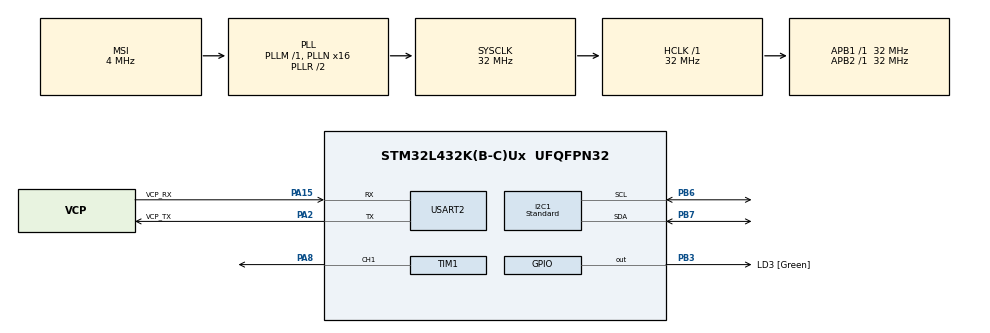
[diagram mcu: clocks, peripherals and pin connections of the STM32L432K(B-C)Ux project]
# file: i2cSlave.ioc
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I2C1.GeneralCallMode=I2C_GENERALCALL_ENABLE
I2C1.I2C_Speed_Mode=I2C_Standard
I2C1.OwnAddress=0x12
I2C1.Timing=0x00707CBB
Mcu.Family=STM32L4
Mcu.Name=STM32L432K(B-C)Ux
Mcu.Package=UFQFPN32
NVIC.I2C1_ER_IRQn=true\:0\:0\:false\:false\:true\:true\:true\:true
NVIC.I2C1_EV_IRQn=true\:0\:0\:false\:false\:true\:true\:true\:true
NVIC.PriorityGroup=NVIC_PRIORITYGROUP_4
PA0.GPIO_Label=MCO [High speed clock in]
PA0.Mode=HSE-External-Clock-Source-for-LittleOrca
PA0.Signal=RCC_CK_IN
PA13\ (JTMS-SWDIO).GPIO_Label=SWDIO
PA13\ (JTMS-SWDIO).Mode=Serial_Wire
PA13\ (JTMS-SWDIO).Signal=SYS_JTMS-SWDIO
PA14\ (JTCK-SWCLK).GPIO_Label=SWCLK
PA14\ (JTCK-SWCLK).Mode=Serial_Wire
PA14\ (JTCK-SWCLK).Signal=SYS_JTCK-SWCLK
PA15\ (JTDI).GPIO_Label=VCP_RX
PA15\ (JTDI).Mode=Asynchronous
PA15\ (JTDI).Signal=USART2_RX
PA2.GPIO_Label=VCP_TX
PA2.Mode=Asynchronous
PA2.Signal=USART2_TX
PA8.GPIO_ModeDefaultPP=GPIO_MODE_AF_PP
PA8.GPIO_Speed=GPIO_SPEED_FREQ_HIGH
PA8.Signal=S_TIM1_CH1
PB3\ (JTDO-TRACESWO).GPIO_Label=LD3 [Green]
PB3\ (JTDO-TRACESWO).Signal=GPIO_Output
PB6.GPIO_FM6=__NULL
PB6.GPIO_Pu=GPIO_NOPULL
PB6.GPIO_Speed=GPIO_SPEED_FREQ_HIGH
PB6.Mode=I2C
PB6.Signal=I2C1_SCL
PB7.GPIO_FM7=__NULL
PB7.GPIO_Pu=GPIO_NOPULL
PB7.GPIO_Speed=GPIO_SPEED_FREQ_HIGH
PB7.Mode=I2C
PB7.Signal=I2C1_SDA
PC14-OSC32_IN\ (PC14).Mode=LSE-External-Oscillator
PC14-OSC32_IN\ (PC14).Signal=RCC_OSC32_IN
PC15-OSC32_OUT\ (PC15).Mode=LSE-External-Oscillator
PC15-OSC32_OUT\ (PC15).Signal=RCC_OSC32_OUT
ProjectManager.HeapSize=0x200
ProjectManager.StackSize=0x400
ProjectManager.TargetToolchain=STM32CubeIDE
RCC.AHBFreq_Value=32000000
RCC.APB1Freq_Value=32000000
RCC.APB1TimFreq_Value=32000000
RCC.APB2Freq_Value=32000000
RCC.APB2TimFreq_Value=32000000
RCC.CortexFreq_Value=32000000
RCC.HCLKFreq_Value=32000000
RCC.HSE_VALUE=8000000
RCC.HSI16_VALUE=16000000
RCC.HSI48_VALUE=48000000
RCC.HSI_VALUE=16000000
RCC.MSI_VALUE=4000000
RCC.PLLMUL=RCC_PLLMUL_4
RCC.PLLN=16
RCC.SYSCLKFreq_VALUE=32000000
RCC.SYSCLKSource=RCC_SYSCLKSOURCE_PLLCLK
RCC.VCOOutputFreq_Value=64000000
SH.S_TIM1_CH1.0=TIM1_CH1,PWM Generation1 CH1
TIM1.AutoReloadPreload=TIM_AUTORELOAD_PRELOAD_ENABLE
TIM1.Channel-PWM\ Generation1\ CH1=TIM_CHANNEL_1
TIM1.OCFastMode_PWM-PWM\ Generation1\ CH1=TIM_OCFAST_DISABLE
TIM1.Period=63999
TIM1.Prescaler=19
TIM1.Pulse-PWM\ Generation1\ CH1=4799
USART2.VirtualMode-Asynchronous=VM_ASYNC
VP_TIM1_VS_ClockSourceINT.Mode=Internal
board=NUCLEO-L432KC

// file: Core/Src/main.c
/* USER CODE BEGIN Header */
/**
  ******************************************************************************
  * @file           : main.c
  * @brief          : Main program body
  ******************************************************************************
  * @attention
  *
  * Copyright (c) 2024 STMicroelectronics.
  * All rights reserved.
  *
  * This software is licensed under terms that can be found in the LICENSE file
  * in the root directory of this software component.
  * If no LICENSE file comes with this software, it is provided AS-IS.
  *
  ******************************************************************************
  */
/* USER CODE END Header */
#include "main.h"

/* USER CODE BEGIN Includes */
#include "i2c_slave.h"
/* USER CODE END Includes */

I2C_HandleTypeDef hi2c1;

TIM_HandleTypeDef htim1;

UART_HandleTypeDef huart2;

void SystemClock_Config(void);
static void MX_GPIO_Init(void);
static void MX_USART2_UART_Init(void);
static void MX_I2C1_Init(void);
static void MX_TIM1_Init(void);
/* USER CODE BEGIN PFP */
int funcToRun = 0;
#define MIN_PULSEWIDTH 1000
#define MAX_PULSEWIDTH 4000
  void setServoAngle(uint32_t angle) {
      // Convert angle to pulse width
      uint32_t pulseWidth = (angle * (MAX_PULSEWIDTH - MIN_PULSEWIDTH) / 180) + MIN_PULSEWIDTH;
      __HAL_TIM_SET_COMPARE(&htim1, TIM_CHANNEL_1, pulseWidth);
  }
/* USER CODE END PFP */

int main(void)
{

  /* MCU Configuration--------------------------------------------------------*/

  /* Reset of all peripherals, Initializes the Flash interface and the Systick. */
  HAL_Init();

  /* Configure the system clock */
  SystemClock_Config();

  /* Initialize all configured peripherals */
  MX_GPIO_Init();
  MX_USART2_UART_Init();
  MX_I2C1_Init();
  MX_TIM1_Init();
  /* USER CODE BEGIN 2 */

  if (HAL_I2C_EnableListen_IT(&hi2c1) != HAL_OK)
  {
	  Error_Handler();
  }
  HAL_TIM_PWM_Start(&htim1, TIM_CHANNEL_1);

  /* USER CODE END 2 */

  /* Infinite loop */
  /* USER CODE BEGIN WHILE */
  while (1)
  {

	  if (funcToRun == 0x01) {
		HAL_GPIO_WritePin(LD3_GPIO_Port, LD3_Pin, GPIO_PIN_SET);
		funcToRun = 0x00;
	}
	if (funcToRun == 0x02) {
		HAL_GPIO_WritePin(LD3_GPIO_Port, LD3_Pin, GPIO_PIN_RESET);
		funcToRun = 0x00;
	}

	if (funcToRun == 0x03) {
		funcToRun = 3;
		setServoAngle(180);
		HAL_Delay(5000);
		setServoAngle(0);
		funcToRun = 0x00;

	}
//	  setServoAngle(180); // Set servo to 90 degrees
//	  HAL_Delay(1000);
//	  setServoAngle(0); // Set servo to 90 degrees
//	  HAL_Delay(1000);

    /* USER CODE END WHILE */

  }
}

void SystemClock_Config(void)
{
  RCC_OscInitTypeDef RCC_OscInitStruct = {0};
  RCC_ClkInitTypeDef RCC_ClkInitStruct = {0};

  /** Configure the main internal regulator output voltage
  */
  if (HAL_PWREx_ControlVoltageScaling(PWR_REGULATOR_VOLTAGE_SCALE1) != HAL_OK)
  {
    Error_Handler();
  }

  /** Configure LSE Drive Capability
  */
  HAL_PWR_EnableBkUpAccess();
  __HAL_RCC_LSEDRIVE_CONFIG(RCC_LSEDRIVE_LOW);

  /** Initializes the RCC Oscillators according to the specified parameters
  * in the RCC_OscInitTypeDef structure.
  */
  RCC_OscInitStruct.OscillatorType = RCC_OSCILLATORTYPE_LSE|RCC_OSCILLATORTYPE_MSI;
  RCC_OscInitStruct.LSEState = RCC_LSE_ON;
  RCC_OscInitStruct.MSIState = RCC_MSI_ON;
  RCC_OscInitStruct.MSICalibrationValue = 0;
  RCC_OscInitStruct.MSIClockRange = RCC_MSIRANGE_6;
  RCC_OscInitStruct.PLL.PLLState = RCC_PLL_ON;
  RCC_OscInitStruct.PLL.PLLSource = RCC_PLLSOURCE_MSI;
  RCC_OscInitStruct.PLL.PLLM = 1;
  RCC_OscInitStruct.PLL.PLLN = 16;
  RCC_OscInitStruct.PLL.PLLP = RCC_PLLP_DIV7;
  RCC_OscInitStruct.PLL.PLLQ = RCC_PLLQ_DIV2;
  RCC_OscInitStruct.PLL.PLLR = RCC_PLLR_DIV2;
  if (HAL_RCC_OscConfig(&RCC_OscInitStruct) != HAL_OK)
  {
    Error_Handler();
  }

  /** Initializes the CPU, AHB and APB buses clocks
  */
  RCC_ClkInitStruct.ClockType = RCC_CLOCKTYPE_HCLK|RCC_CLOCKTYPE_SYSCLK
                              |RCC_CLOCKTYPE_PCLK1|RCC_CLOCKTYPE_PCLK2;
  RCC_ClkInitStruct.SYSCLKSource = RCC_SYSCLKSOURCE_PLLCLK;
  RCC_ClkInitStruct.AHBCLKDivider = RCC_SYSCLK_DIV1;
  RCC_ClkInitStruct.APB1CLKDivider = RCC_HCLK_DIV1;
  RCC_ClkInitStruct.APB2CLKDivider = RCC_HCLK_DIV1;

  if (HAL_RCC_ClockConfig(&RCC_ClkInitStruct, FLASH_LATENCY_1) != HAL_OK)
  {
    Error_Handler();
  }

  /** Enable MSI Auto calibration
  */
  HAL_RCCEx_EnableMSIPLLMode();
}

static void MX_I2C1_Init(void)
{

  hi2c1.Instance = I2C1;
  hi2c1.Init.Timing = 0x00707CBB;
  hi2c1.Init.OwnAddress1 = 36;
  hi2c1.Init.AddressingMode = I2C_ADDRESSINGMODE_7BIT;
  hi2c1.Init.DualAddressMode = I2C_DUALADDRESS_DISABLE;
  hi2c1.Init.OwnAddress2 = 0;
  hi2c1.Init.OwnAddress2Masks = I2C_OA2_NOMASK;
  hi2c1.Init.GeneralCallMode = I2C_GENERALCALL_ENABLE;
  hi2c1.Init.NoStretchMode = I2C_NOSTRETCH_DISABLE;
  if (HAL_I2C_Init(&hi2c1) != HAL_OK)
  {
    Error_Handler();
  }

  /** Configure Analogue filter
  */
  if (HAL_I2CEx_ConfigAnalogFilter(&hi2c1, I2C_ANALOGFILTER_ENABLE) != HAL_OK)
  {
    Error_Handler();
  }

  /** Configure Digital filter
  */
  if (HAL_I2CEx_ConfigDigitalFilter(&hi2c1, 0) != HAL_OK)
  {
    Error_Handler();
  }

}

static void MX_TIM1_Init(void)
{

  TIM_ClockConfigTypeDef sClockSourceConfig = {0};
  TIM_MasterConfigTypeDef sMasterConfig = {0};
  TIM_OC_InitTypeDef sConfigOC = {0};
  TIM_BreakDeadTimeConfigTypeDef sBreakDeadTimeConfig = {0};

  htim1.Instance = TIM1;
  htim1.Init.Prescaler = 19;
  htim1.Init.CounterMode = TIM_COUNTERMODE_UP;
  htim1.Init.Period = 63999;
  htim1.Init.ClockDivision = TIM_CLOCKDIVISION_DIV1;
  htim1.Init.RepetitionCounter = 0;
  htim1.Init.AutoReloadPreload = TIM_AUTORELOAD_PRELOAD_ENABLE;
  if (HAL_TIM_Base_Init(&htim1) != HAL_OK)
  {
    Error_Handler();
  }
  sClockSourceConfig.ClockSource = TIM_CLOCKSOURCE_INTERNAL;
  if (HAL_TIM_ConfigClockSource(&htim1, &sClockSourceConfig) != HAL_OK)
  {
    Error_Handler();
  }
  if (HAL_TIM_PWM_Init(&htim1) != HAL_OK)
  {
    Error_Handler();
  }
  sMasterConfig.MasterOutputTrigger = TIM_TRGO_RESET;
  sMasterConfig.MasterOutputTrigger2 = TIM_TRGO2_RESET;
  sMasterConfig.MasterSlaveMode = TIM_MASTERSLAVEMODE_DISABLE;
  if (HAL_TIMEx_MasterConfigSynchronization(&htim1, &sMasterConfig) != HAL_OK)
  {
    Error_Handler();
  }
  sConfigOC.OCMode = TIM_OCMODE_PWM1;
  sConfigOC.Pulse = 4799;
  sConfigOC.OCPolarity = TIM_OCPOLARITY_HIGH;
  sConfigOC.OCNPolarity = TIM_OCNPOLARITY_HIGH;
  sConfigOC.OCFastMode = TIM_OCFAST_DISABLE;
  sConfigOC.OCIdleState = TIM_OCIDLESTATE_RESET;
  sConfigOC.OCNIdleState = TIM_OCNIDLESTATE_RESET;
  if (HAL_TIM_PWM_ConfigChannel(&htim1, &sConfigOC, TIM_CHANNEL_1) != HAL_OK)
  {
    Error_Handler();
  }
  sBreakDeadTimeConfig.OffStateRunMode = TIM_OSSR_DISABLE;
  sBreakDeadTimeConfig.OffStateIDLEMode = TIM_OSSI_DISABLE;
  sBreakDeadTimeConfig.LockLevel = TIM_LOCKLEVEL_OFF;
  sBreakDeadTimeConfig.DeadTime = 0;
  sBreakDeadTimeConfig.BreakState = TIM_BREAK_DISABLE;
  sBreakDeadTimeConfig.BreakPolarity = TIM_BREAKPOLARITY_HIGH;
  sBreakDeadTimeConfig.BreakFilter = 0;
  sBreakDeadTimeConfig.Break2State = TIM_BREAK2_DISABLE;
  sBreakDeadTimeConfig.Break2Polarity = TIM_BREAK2POLARITY_HIGH;
  sBreakDeadTimeConfig.Break2Filter = 0;
  sBreakDeadTimeConfig.AutomaticOutput = TIM_AUTOMATICOUTPUT_DISABLE;
  if (HAL_TIMEx_ConfigBreakDeadTime(&htim1, &sBreakDeadTimeConfig) != HAL_OK)
  {
    Error_Handler();
  }
  HAL_TIM_MspPostInit(&htim1);

}

static void MX_USART2_UART_Init(void)
{

  huart2.Instance = USART2;
  huart2.Init.BaudRate = 115200;
  huart2.Init.WordLength = UART_WORDLENGTH_8B;
  huart2.Init.StopBits = UART_STOPBITS_1;
  huart2.Init.Parity = UART_PARITY_NONE;
  huart2.Init.Mode = UART_MODE_TX_RX;
  huart2.Init.HwFlowCtl = UART_HWCONTROL_NONE;
  huart2.Init.OverSampling = UART_OVERSAMPLING_16;
  huart2.Init.OneBitSampling = UART_ONE_BIT_SAMPLE_DISABLE;
  huart2.AdvancedInit.AdvFeatureInit = UART_ADVFEATURE_NO_INIT;
  if (HAL_UART_Init(&huart2) != HAL_OK)
  {
    Error_Handler();
  }

}

static void MX_GPIO_Init(void)
{
  GPIO_InitTypeDef GPIO_InitStruct = {0};

  /* GPIO Ports Clock Enable */
  __HAL_RCC_GPIOC_CLK_ENABLE();
  __HAL_RCC_GPIOA_CLK_ENABLE();
  __HAL_RCC_GPIOB_CLK_ENABLE();

  /*Configure GPIO pin Output Level */
  HAL_GPIO_WritePin(LD3_GPIO_Port, LD3_Pin, GPIO_PIN_RESET);

  /*Configure GPIO pin : LD3_Pin */
  GPIO_InitStruct.Pin = LD3_Pin;
  GPIO_InitStruct.Mode = GPIO_MODE_OUTPUT_PP;
  GPIO_InitStruct.Pull = GPIO_NOPULL;
  GPIO_InitStruct.Speed = GPIO_SPEED_FREQ_LOW;
  HAL_GPIO_Init(LD3_GPIO_Port, &GPIO_InitStruct);

}

void Error_Handler(void)
{
  __disable_irq();
  while (1)
  {
  }
}
